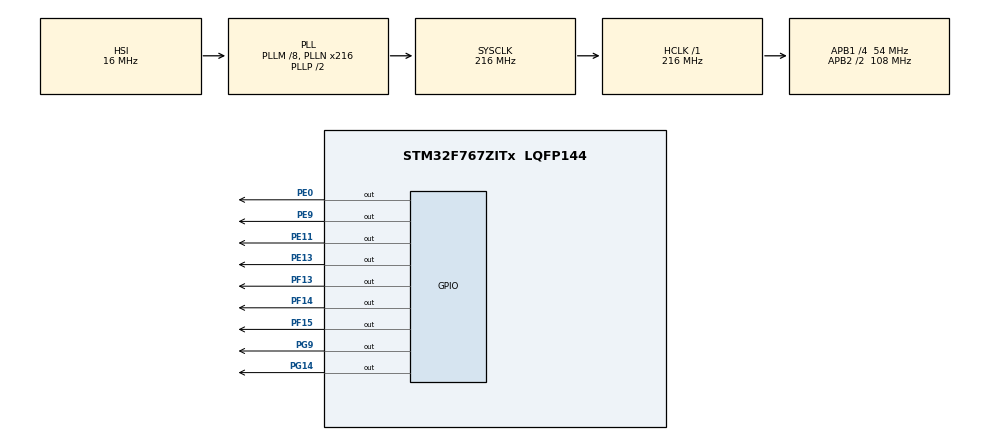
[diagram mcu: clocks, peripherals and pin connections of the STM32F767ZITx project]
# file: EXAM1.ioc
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Mcu.Family=STM32F7
Mcu.Name=STM32F767ZITx
Mcu.Package=LQFP144
NVIC.PriorityGroup=NVIC_PRIORITYGROUP_4
PE0.Signal=GPIO_Output
PE11.Signal=GPIO_Output
PE13.Signal=GPIO_Output
PE9.Signal=GPIO_Output
PF13.Signal=GPIO_Output
PF14.Signal=GPIO_Output
PF15.Signal=GPIO_Output
PG14.Signal=GPIO_Output
PG9.Signal=GPIO_Output
ProjectManager.HeapSize=0x200
ProjectManager.StackSize=0x400
ProjectManager.TargetToolchain=STM32CubeIDE
RCC.AHBFreq_Value=216000000
RCC.APB1CLKDivider=RCC_HCLK_DIV4
RCC.APB1Freq_Value=54000000
RCC.APB1TimFreq_Value=108000000
RCC.APB2CLKDivider=RCC_HCLK_DIV2
RCC.APB2Freq_Value=108000000
RCC.APB2TimFreq_Value=216000000
RCC.CortexFreq_Value=216000000
RCC.HCLKFreq_Value=216000000
RCC.HSE_VALUE=25000000
RCC.HSI_VALUE=16000000
RCC.LSE_VALUE=32768
RCC.PLLM=8
RCC.PLLN=216
RCC.SYSCLKFreq_VALUE=216000000
RCC.SYSCLKSource=RCC_SYSCLKSOURCE_PLLCLK
RCC.USBFreq_Value=216000000
RCC.VCOOutputFreq_Value=432000000
board=custom

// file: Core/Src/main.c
/* USER CODE BEGIN Header */
/**
  ******************************************************************************
  * @file           : main.c
  * @brief          : Main program body
  ******************************************************************************
  * @attention
  *
  * Copyright (c) 2023 STMicroelectronics.
  * All rights reserved.
  *
  * This software is licensed under terms that can be found in the LICENSE file
  * in the root directory of this software component.
  * If no LICENSE file comes with this software, it is provided AS-IS.
  *
  ******************************************************************************
  */
/* USER CODE END Header */
#include "main.h"
#include "gpio.h"

/* USER CODE BEGIN PV */
uint8_t count = 0;
uint8_t led[4][8] = {{1,0,0,0,0,0,0,1},
					 {0,1,0,0,0,0,1,0},
					 {0,0,1,0,0,1,0,0},
					 {0,0,0,1,1,0,0,0},
					};
/* USER CODE END PV */

void SystemClock_Config(void);
//static void MPU_Initialize(void);
static void MPU_Config(void);

int main(void)
{

  /* MCU Configuration--------------------------------------------------------*/

  /* Reset of all peripherals, Initializes the Flash interface and the Systick. */
  HAL_Init();

  /* MPU Configuration--------------------------------------------------------*/
  MPU_Config();

  /* Configure the system clock */
  SystemClock_Config();

  /* Initialize all configured peripherals */
  MX_GPIO_Init();

  /* Infinite loop */
  while (1)
  {

    /* USER CODE BEGIN 3 */
	  if(count > 3){
		  count = 0;
	  }
	  HAL_GPIO_WritePin(GPIOE, GPIO_PIN_0, led[count][0]);
	  HAL_GPIO_WritePin(GPIOG, GPIO_PIN_14, led[count][1]);
	  HAL_GPIO_WritePin(GPIOF, GPIO_PIN_15, led[count][2]);
	  HAL_GPIO_WritePin(GPIOE, GPIO_PIN_13, led[count][3]);
	  HAL_GPIO_WritePin(GPIOF, GPIO_PIN_14, led[count][4]);
	  HAL_GPIO_WritePin(GPIOE, GPIO_PIN_11, led[count][5]);
	  HAL_GPIO_WritePin(GPIOE, GPIO_PIN_9, led[count][6]);
	  HAL_GPIO_WritePin(GPIOF, GPIO_PIN_13, led[count][7]);

	  HAL_Delay(500);
	  count++;
  }
  /* USER CODE END 3 */
}

void SystemClock_Config(void)
{
  RCC_OscInitTypeDef RCC_OscInitStruct = {0};
  RCC_ClkInitTypeDef RCC_ClkInitStruct = {0};

  /** Configure the main internal regulator output voltage
  */
  __HAL_RCC_PWR_CLK_ENABLE();
  __HAL_PWR_VOLTAGESCALING_CONFIG(PWR_REGULATOR_VOLTAGE_SCALE1);

  /** Initializes the RCC Oscillators according to the specified parameters
  * in the RCC_OscInitTypeDef structure.
  */
  RCC_OscInitStruct.OscillatorType = RCC_OSCILLATORTYPE_HSI;
  RCC_OscInitStruct.HSIState = RCC_HSI_ON;
  RCC_OscInitStruct.HSICalibrationValue = RCC_HSICALIBRATION_DEFAULT;
  RCC_OscInitStruct.PLL.PLLState = RCC_PLL_ON;
  RCC_OscInitStruct.PLL.PLLSource = RCC_PLLSOURCE_HSI;
  RCC_OscInitStruct.PLL.PLLM = 8;
  RCC_OscInitStruct.PLL.PLLN = 216;
  RCC_OscInitStruct.PLL.PLLP = RCC_PLLP_DIV2;
  RCC_OscInitStruct.PLL.PLLQ = 2;
  RCC_OscInitStruct.PLL.PLLR = 2;
  if (HAL_RCC_OscConfig(&RCC_OscInitStruct) != HAL_OK)
  {
    Error_Handler();
  }

  /** Activate the Over-Drive mode
  */
  if (HAL_PWREx_EnableOverDrive() != HAL_OK)
  {
    Error_Handler();
  }

  /** Initializes the CPU, AHB and APB buses clocks
  */
  RCC_ClkInitStruct.ClockType = RCC_CLOCKTYPE_HCLK|RCC_CLOCKTYPE_SYSCLK
                              |RCC_CLOCKTYPE_PCLK1|RCC_CLOCKTYPE_PCLK2;
  RCC_ClkInitStruct.SYSCLKSource = RCC_SYSCLKSOURCE_PLLCLK;
  RCC_ClkInitStruct.AHBCLKDivider = RCC_SYSCLK_DIV1;
  RCC_ClkInitStruct.APB1CLKDivider = RCC_HCLK_DIV4;
  RCC_ClkInitStruct.APB2CLKDivider = RCC_HCLK_DIV2;

  if (HAL_RCC_ClockConfig(&RCC_ClkInitStruct, FLASH_LATENCY_7) != HAL_OK)
  {
    Error_Handler();
  }
}

/* MPU Configuration */

void MPU_Config(void)
{
  MPU_Region_InitTypeDef MPU_InitStruct = {0};

  /* Disables the MPU */
  HAL_MPU_Disable();

  /** Initializes and configures the Region and the memory to be protected
  */
  MPU_InitStruct.Enable = MPU_REGION_ENABLE;
  MPU_InitStruct.Number = MPU_REGION_NUMBER0;
  MPU_InitStruct.BaseAddress = 0x0;
  MPU_InitStruct.Size = MPU_REGION_SIZE_4GB;
  MPU_InitStruct.SubRegionDisable = 0x87;
  MPU_InitStruct.TypeExtField = MPU_TEX_LEVEL0;
  MPU_InitStruct.AccessPermission = MPU_REGION_NO_ACCESS;
  MPU_InitStruct.DisableExec = MPU_INSTRUCTION_ACCESS_DISABLE;
  MPU_InitStruct.IsShareable = MPU_ACCESS_SHAREABLE;
  MPU_InitStruct.IsCacheable = MPU_ACCESS_NOT_CACHEABLE;
  MPU_InitStruct.IsBufferable = MPU_ACCESS_NOT_BUFFERABLE;

  HAL_MPU_ConfigRegion(&MPU_InitStruct);
  /* Enables the MPU */
  HAL_MPU_Enable(MPU_PRIVILEGED_DEFAULT);

}

void Error_Handler(void)
{
  __disable_irq();
  while (1)
  {
  }
}
